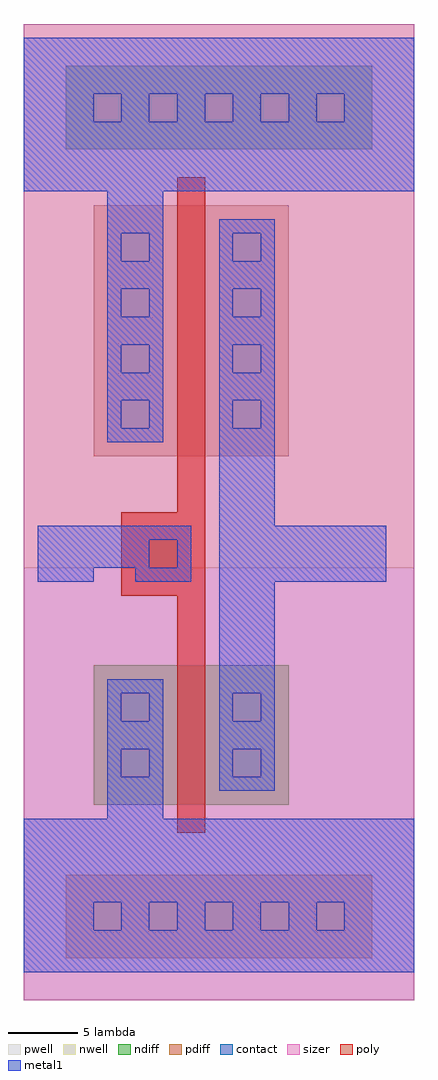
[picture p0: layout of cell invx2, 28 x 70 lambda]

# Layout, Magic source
magic
tech concept
<< sizer >>
rect 0 0 28 70
<< metal1 >>
rect 0 65 28 69
rect 0 63 5 65
rect 7 63 9 65
rect 11 63 13 65
rect 15 63 17 65
rect 19 63 21 65
rect 23 63 28 65
rect 0 58 28 63
rect 6 55 10 58
rect 14 55 18 56
rect 6 53 7 55
rect 9 53 10 55
rect 14 53 15 55
rect 17 53 18 55
rect 6 51 10 53
rect 14 51 18 53
rect 6 49 7 51
rect 9 49 10 51
rect 14 49 15 51
rect 17 49 18 51
rect 6 47 10 49
rect 14 47 18 49
rect 6 45 7 47
rect 9 45 10 47
rect 14 45 15 47
rect 17 45 18 47
rect 6 43 10 45
rect 14 43 18 45
rect 6 41 7 43
rect 9 41 10 43
rect 14 41 15 43
rect 17 41 18 43
rect 6 40 10 41
rect 14 34 18 41
rect 1 33 12 34
rect 14 30 26 34
rect 1 31 9 33
rect 11 31 12 33
rect 1 30 5 31
rect 8 30 12 31
rect 14 22 18 30
rect 6 22 10 23
rect 6 20 7 22
rect 9 20 10 22
rect 14 20 15 22
rect 17 20 18 22
rect 6 18 10 20
rect 14 18 18 20
rect 6 16 7 18
rect 9 16 10 18
rect 14 16 15 18
rect 17 16 18 18
rect 6 13 10 16
rect 14 15 18 16
rect 0 7 28 13
rect 0 5 5 7
rect 7 5 9 7
rect 11 5 13 7
rect 15 5 17 7
rect 19 5 21 7
rect 23 5 28 7
rect 0 2 28 5
<< contact >>
rect 5 63 7 65
rect 9 63 11 65
rect 13 63 15 65
rect 17 63 19 65
rect 21 63 23 65
rect 7 53 9 55
rect 15 53 17 55
rect 7 49 9 51
rect 15 49 17 51
rect 7 45 9 47
rect 15 45 17 47
rect 7 41 9 43
rect 15 41 17 43
rect 9 31 11 33
rect 7 20 9 22
rect 15 20 17 22
rect 7 16 9 18
rect 15 16 17 18
rect 5 5 7 7
rect 9 5 11 7
rect 13 5 15 7
rect 17 5 19 7
rect 21 5 23 7
<< poly >>
rect 11 35 13 59
rect 7 29 13 35
rect 11 12 13 29
<< ndiff >>
rect 3 61 25 67
rect 5 14 19 24
<< pdiff >>
rect 5 39 19 57
rect 3 3 25 9
<< nwell >>
rect 0 31 28 70
<< pwell >>
rect 0 0 28 31
<< end >>
